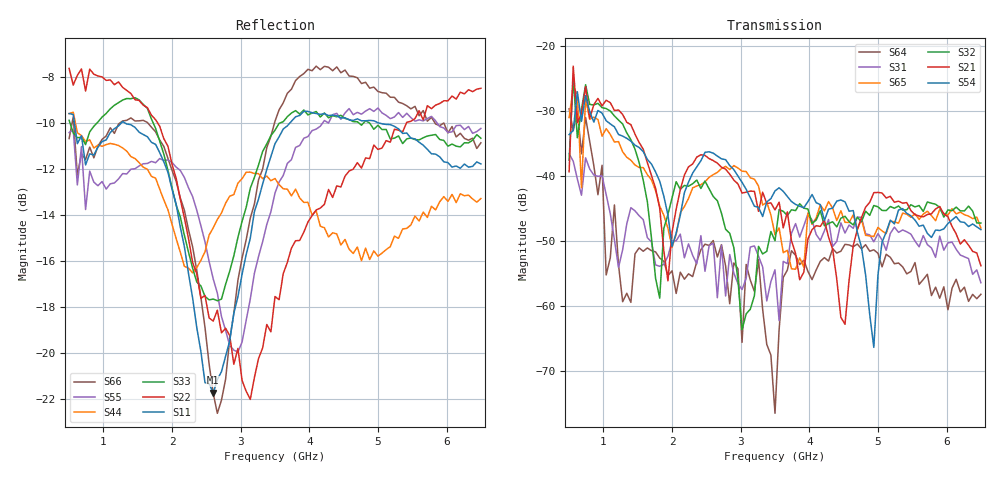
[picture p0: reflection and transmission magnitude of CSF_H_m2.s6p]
!Keysight Technologies,M9804A,MY58100912,A.14.10.03
!Date: Thursday, April 27, 2023 10:28:33
!Correction: S11(C  6-Port  )
!S12(C  6-Port  )
!S13(C  6-Port  )
!S14(C  6-Port  )
!S15(C  6-Port  )
!S16(C  6-Port  )
!S21(C  6-Port  )
!S22(C  6-Port  )
!S23(C  6-Port  )
!S24(C  6-Port  )
!S25(C  6-Port  )
!S26(C  6-Port  )
!S31(C  6-Port  )
!S32(C  6-Port  )
!S33(C  6-Port  )
!S34(C  6-Port  )
!S35(C  6-Port  )
!S36(C  6-Port  )
!S41(C  6-Port  )
!S42(C  6-Port  )
!S43(C  6-Port  )
!S44(C  6-Port  )
!S45(C  6-Port  )
!S46(C  6-Port  )
!S51(C  6-Port  )
!S52(C  6-Port  )
!S53(C  6-Port  )
!S54(C  6-Port  )
!S55(C  6-Port  )
!S56(C  6-Port  )
!S61(C  6-Port  )
!S62(C  6-Port  )
!S63(C  6-Port  )
!S64(C  6-Port  )
!S65(C  6-Port  )
!S66(C  6-Port  )
!S6P File: Measurement: :
# Hz S  RI  R 50
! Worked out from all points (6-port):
!   101 points, 500 MHz to 6.5 GHz, reference 50 ohm
!   strongest paths, dB at 500 MHz, 2 GHz, 3.5 GHz, 5 GHz, 6.5 GHz:
!     S54: -33.7, -50.9, -42.3, -55.2, -48.3
!     S21: -39.4, -48.7, -45.2, -42.6, -53.8
!     S32: -37.6, -43.4, -50.0, -44.8, -47.3
!     S65: -31.1, -51.0, -49.1, -47.9, -48.0
!     S31: -36.6, -50.0, -54.4, -48.9, -56.4
!     S64: -29.7, -54.6, -76.5, -51.9, -58.2
!   lowest |S11| = -21.7 dB at 2.6 GHz (marker M1), VSWR 1.18, Z = 42.7 + j2.06 ohm
!   |S11| at or under -10 dB: 577.6 MHz to 1.259 GHz (681.3 MHz wide, 74.2 % of centre); 1.317 GHz to 3.716 GHz (2.398 GHz wide, 95.3 % of centre); 5.019 GHz to end of sweep
